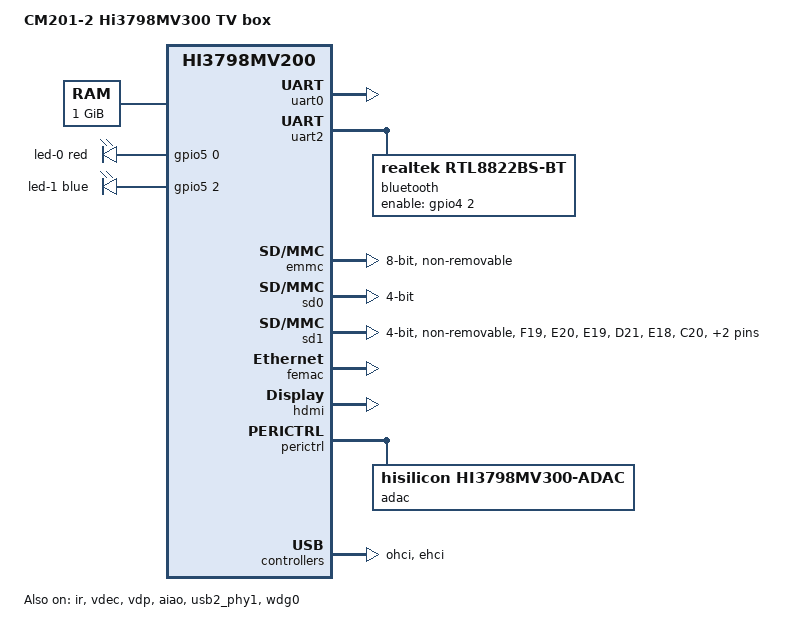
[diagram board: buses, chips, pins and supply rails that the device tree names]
// SPDX-License-Identifier: GPL-2.0
/*
 * CM201-2（Sunnovo / Hi3798MV300，1 GiB + 8 GiB eMMC）板级 DTS。
 *
 * 派生自 hataketsu 的 hi3798mv300-mainline tvbox DTS，按本机需要做了以下改动：
 *   - CM201-2 的 model 字符串，以及给 SDIO Wi-Fi 的 mmc2 别名；
 *   - BL31 预留在厂商 fastboot 放置它的 0x04400000，而不是 l-loader 的地址；
 *   - eMMC 沿用 U-Boot 的引脚设置（不挂 pinctrl state），SDIO1 使用 bootloader 留作 GPIO 的 sdio 复用（F20 留给蓝牙的 BT_REG_ON）；
 *   - eMMC 的 DDR52/HS200/HS400；SD0 卡槽用控制器自带的卡检测并带 disable-wp，SDIO Wi-Fi 那一路带 broken-cd；
 *   - 通过 MV300 USB2 PHY 的 MMIO 序列启用 USB host（patches/linux/0002 "inno-usb2: 支持 Hi3798MV300 的 MMIO 端口"）；
 *   - SoC dtsi 没有的 PMC tsensor、thermal zone 与 TRNG；
 *   - UART2 上的 RTL8822BS 蓝牙（H5，btrtl）；
 *   - 机身 AV 口的模拟音频：AIAO 发送口 1 → 片内 TianLai V700 ADAC（声卡 "CM201 AV"）；
 *   - CPU 供电 PMC6 由 histb-regulator 接管（vdd_cpu），operating point 带 opp-microvolt，并以 CPU 作为 thermal zone 的冷却设备；tsensor 的窗口让出 PMC6–PMC8。
 *
 * 基于 v7.4-rc1 + histb-mainline/patches pending-7.4 编写。
 *
 * 厂商设备树里没有板名；型号依据标签和导出的原厂 DTB 判定。
 */

/dts-v1/;

#include <dt-bindings/gpio/gpio.h>
#include <dt-bindings/leds/common.h>
#include <dt-bindings/thermal/thermal.h>

#include "hi3798mv200.dtsi"

/ {
	model = "CM201-2 Hi3798MV300 TV box";
	compatible = "hisilicon,hi3798mv300-tvbox", "hisilicon,hi3798mv200";

	aliases {
		serial0 = &uart0;
		serial1 = &uart2;
		mmc0 = &emmc;
		mmc1 = &sd0;
		mmc2 = &sd1;
		ethernet0 = &femac;
	};

	chosen {
		stdout-path = "serial0:115200n8";
		/* 默认先 DHCP（EA7500 在 192.168.75.0/24），失败才落到静态 192.168.1.249 —— 静态只用于 DHCP 不可达时的带外入口。 */
		/*
		 * 盘上没有 GPT。分区表来自 U-Boot env 的 blkdevparts（9 个分区，与 630 MiB 处的 ext4 对齐）；mainline 需要 CONFIG_CMDLINE_PARTITION=y 才会解析。不要改成 GPT：sector 0 是原厂 fastboot。
		 * root=/dev/mmcblk0p9 给 p6 里的「无 initramfs」内核直接挂载用；带诊断 initramfs 的 TFTP 镜像由 /init 自己 switch_root，会忽略这个 root=（两者共用同一份 DTB）。
		 * diag.rootfs=0 可让某次启动留在诊断态（改 DTB 或直接换 hi_kernel-mv300-diag-blkparts.bin）。
		 * fsck.repair=yes：根分区由 /init 以只读交给 systemd，systemd-fsck-root 遇到需要人工确认的错误也自动修复，不停在交互提示上（无人值守，docs/04-ROOTFS.md「根分区 fsck」）。
		 * ext4.max_folio_order=0：普通文件的页缓存回到逐页，经 mmap 的小更新不再整块（最大 2 MiB）回写（patches/linux 的 ext4 补丁，docs/12-DURABILITY.md）。
		 * cma=64M：默认 32 MB CMA 装不下 VDEC。7.3 的零拷贝口径是消息池 + H.264 PMV 池 + 4 个 1440p capture buffer 约 40 MB；7.4 的 v2 后端在每个 capture buffer 后面多一份同尺寸内部帧（1440p 每对约 11 MB），估算 1440p H.264 2 个 buffer 约 30 MB、4 个约 52 MB，HEVC 的 PMV 池仍一次分配 20 槽（1440p 约 9 MB），4 个 buffer 约 62 MB——都是算出来的，未在 7.4 上实测。
		 */
		bootargs = "console=ttyAMA0,115200 panic=5 panic_on_oops=1 systemd.unit=multi-user.target fsck.repair=yes ext4.max_folio_order=0 clk_ignore_unused cma=64M diag.ip=192.168.1.249 diag.gw=192.168.1.1 diag.shell=1 diag.rootfs=1 root=/dev/mmcblk0p9 rootfstype=ext4 rootwait blkdevparts=mmcblk0:1M(boot),1M(bootargs),4M(baseparam),4M(pqparam),4M(logo),40M(kernel),64M(busybox),512M(backup),-(ubuntu)";
	};

	/*
	 * 1 GiB。原厂 bootloader 的 `getinfo ddrfree` 报告空闲 DDR 为 0x1000000..0x40000000，HC2910 DTS 的 0x80000000 会映射出并不存在的半个 GiB。
	 */
	memory@0 {
		device_type = "memory";
		reg = <0x0 0x0 0x0 0x40000000>;
	};

	/*
	 * pstore：板子没有可用的 UART，所以卡死或 panic 的那次启动的控制台输出保存在 RAM 里、跨热复位保留（SysRq-B 与 SP805 看门狗复位都已实测，07 #41、#62），在下次启动时读回（systemd-pstore 把它归档到 /var/lib/systemd/pstore）。不放在 DDR 顶端：热复位后最后 1 MiB 存着 DDR training pattern 和 fastboot 数据（2026-11-12 实测），ramoops 在那里发现每个 header 都已损坏。放在 0x30000000 时，上一次启动的 console 与 pmsg 读回时报告 "ECC: No errors detected"。no-map 让该区域不进线性映射，因此以 uncached 方式写入，并可通过 /dev/mem 读出核对。
	 */
	reserved-memory {
		/*
		 * 两条启动链上 BL31 都作为 PSCI 固件常驻 EL3：厂商 fastboot 把 FIP 里的 BL31 拷到这里并热复位进入它（TFTP 镜像用厂商 BL31，p6 里的 route-D 链用上游 TF-A）。厂商 BL31 链接在 0x04400000，并把自己映射在 [0x04400000, 0x04410000)；上游 BL31 链接进同一个 0x14000 字节的槽。
		 */
		bl31@4400000 {
			reg = <0x0 0x04400000 0x0 0x00014000>;
			no-map;
		};

		ramoops@30000000 {
			compatible = "ramoops";
			reg = <0x0 0x30000000 0x0 0x100000>;
			no-map;
			console-size = <0x80000>;
			record-size = <0x20000>;
			pmsg-size = <0x20000>;
			ecc-size = <16>;
		};
	};

	/*
	 * 两颗前面板 LED 都在 gpio5 上——即 0xf8004000 处的 PL061，待机时仍然供电。两颗都是高电平有效，且都无法单靠软件发现：bootloader 把蓝色 LED 的引脚留作输入，只有逐条驱动每根线才找到了它。
	 *
	 * 线 1 有意不分配：它是 bootloader 置高的输出，但不点亮任何东西。
	 */
	leds {
		compatible = "gpio-leds";

		led-0 {
			gpios = <&gpio5 0 GPIO_ACTIVE_HIGH>;
			color = <LED_COLOR_ID_RED>;
			function = LED_FUNCTION_ACTIVITY;
			linux,default-trigger = "mmc0";
		};

		led-1 {
			gpios = <&gpio5 2 GPIO_ACTIVE_HIGH>;
			color = <LED_COLOR_ID_BLUE>;
			function = LED_FUNCTION_POWER;
			linux,default-trigger = "heartbeat";
		};
	};
};

&uart0 {
	status = "okay";
};

/*
 * RTL8822BS 的蓝牙部分：H5（三线 UART）接 UART2。UART2 是 K19/J20/J19/H21 四线，原厂与 histb 两份 fastboot 寄存器表都把这四脚设成功能 5；主线 pinctrl 表里 K19 的 uart 功能号是 4，与硬件现值不符，所以不挂 pinctrl，沿用 bootloader 的复用（同 &emmc）。
 * BT_REG_ON 是 GPIO4_2（焊盘 F20），高有效：原厂 hi_rfkill.ko 用 GPIO 34 驱动它（rfkill 解除阻塞时输出 1）。hci_h5 在 probe（注册 hci 设备时打开 H5 协议）时先拉低 100 ms 再拉高、卸载时拉低，hci0 的 up/down 不动它。
 * 固件按芯片版本由 btrtl 选（rtl_bt/rtl8822bs_fw.bin、rtl8822bs_config.bin，原厂 /etc/firmware 同名文件）；config 把链路切到 1.5 Mbaud 并开硬件流控。
 */
&uart2 {
	status = "okay";

	bluetooth {
		compatible = "realtek,rtl8822bs-bt", "realtek,rtl8822cs-bt";
		enable-gpios = <&gpio4 2 GPIO_ACTIVE_HIGH>;
	};
};

/*
 * eMMC 实测（2026-11-07）：
 * - DDR52、HS200、HS400 均能在 mainline 7.3 下读写；HS400 跑 150 MHz。
 * - HS400 早先全读失败（CRC 错误）的根因不是采样相位或 SAP DLL，而是 mainline pinctrl：dtsi 的 emmc_default 把 eMMC 引脚统一配成 8mA + slew-rate 1，而厂商驱动在 HS400 下用 8mA + slew-rate 0（himciv200_set_driver）。U-Boot 已按 HS400 配好 IO 引脚，删掉 pinctrl 保留其设置后，HS400 读、写、回读校验全部通过。
 * - 保留 HS200 作为 HS400 不可用时的回退，DDR52 继续保留。
 */
&emmc {
	/* 不要挂 pinctrl-0：mainline emmc_default 的 slew-rate 1 会破坏 HS400 数据窗口。引脚复用和驱动强度沿用 U-Boot 的配置。 */
	/delete-property/ pinctrl-0;
	/delete-property/ pinctrl-names;

	fifo-depth = <256>;
	clock-frequency = <50000000>;
	max-frequency = <150000000>;
	bus-width = <8>;
	cap-mmc-highspeed;
	cap-mmc-ddr52;
	mmc-hs200-1_8v;
	mmc-hs400-1_8v;
	mmc-ddr-1_8v;
	non-removable;
	status = "okay";
};

/*
 * SD 卡槽（SD0）：卡检测走控制器自带的 CDETECT，由 dtsi 的 sd0_default 把 C5 复用成 sdio 功能（上拉；无卡时 C5 读高，07 #73），不再用 broken-cd 让 mmc 核心反复重试整套初始化。microSD 没有写保护开关，C2 悬空上拉会被读成写保护，所以 disable-wp。
 * 只开 SD 高速（50 MHz）：板上没有 1.8 V IO 电压切换（dw_mmc-hi3798mv200 不做电压切换、也没有 vqmmc 稳压器），声明 UHS 会让卡在 CMD11 后切到 1.8 V 而主机仍按 3.3 V 驱动。
 */
&sd0 {
	fifo-depth = <256>;
	clock-frequency = <150000000>;
	bus-width = <4>;
	cap-sd-highspeed;
	disable-wp;
	status = "okay";
};

/*
 * RTL8822BS 使用的 SDIO1 引脚。厂商 bootloader 把这些引脚留作 GPIO 复用，所以卡从不应答 CMD52。运行期经 pinctrl debugfs 验证（把引脚复用为 "sdio"，重新绑定 mmc2）后卡能枚举出来；这里固定该复用。pinconf 有意不动：bootloader 的偏置与驱动强度设置已经可用。
 * F20 不在组里：它是蓝牙的 BT_REG_ON（GPIO4_2，&uart2 的 enable-gpios），pinctrl 是 strict 的，留在 sdio 组里 GPIO 就请求不到。原厂 fastboot 寄存器表里 SDIO1 只用 E20/E19/D21/E18/C20/D19 六脚，F20/F19 都是 GPIO（BT_REG_ON / WL_REG_ON）；F19 与 B21 仍按现状留在 sdio 组，WiFi 一直在这个配置下工作。
 */
&ioconfig {
	sdio1_default: sdio1-default-state {
		sdio1-pins {
			pins = "F19", "E20", "E19", "D21", "E18", "C20",
			       "D19", "B21";
			function = "sdio";
		};
	};
};

/* SDIO Wi-Fi：RTL8822BS，由 rtw88 驱动。 */
&sd1 {
	pinctrl-0 = <&sdio1_default>;
	pinctrl-names = "default";

	bus-width = <4>;
	max-frequency = <50000000>;
	cap-sd-highspeed;
	cap-sdio-irq;
	sd-uhs-sdr12;
	sd-uhs-sdr25;
	sd-uhs-sdr50;
	non-removable;
	broken-cd;
	status = "okay";
};

/*
 * CPU operating point：取 CPU PLL 在 fastboot 留下的分频下能精确得到的频率（24 MHz / (postdiv1 2 * postdiv2 1 * refdiv 2) = 反馈分频每步 6 MHz；时钟驱动会重新调谐 PLL，见 crg-hi3798mv200.c）。SoC 表里的 24/200/400/800 MHz 在这个 PLL 上达不到。
 * 电压：1.2 GHz 保持 1.10 V（fastboot 为它设的值，厂商 OPP 表同值）；600 MHz 930 mV、900 MHz 1002.5 mV，都是运行期满载实测过的 PMC6 值（userspace 钉频 + /dev/mem 直写 PMC6，3 核 openssl + sha256 已知结果校验，600 MHz 30 min、900 MHz 20 min 无错，docs/07-EVIDENCE.md #70），比厂商 OPP 表的 SVB 修正前默认值（600 MHz 850 mV、800 MHz 930 mV、1.2 GHz 1100 mV，07 #31）留出余量。驱动按 PWM 周期 220 换算（V = 1250 mV − 2.5 mV × duty，寄存器里的 duty 与周期字段都是值加 1），930000 写成 duty 字段 0x81，1002500 写成 0x64，与实测值逐位一致。
 * opp-suspend 让有序重启/关机前回到 1.2 GHz/1.10 V，即 fastboot 交棒时的状态。
 */
&cpu_opp_table {
	/delete-node/ opp-24000000;
	/delete-node/ opp-200000000;
	/delete-node/ opp-400000000;
	/delete-node/ opp-800000000;
	/delete-node/ opp-1350000000;
	/delete-node/ opp-1600000000;

	opp-600000000 {
		opp-microvolt = <930000 930000 1250000>;
	};

	opp-900000000 {
		opp-hz = /bits/ 64 <900000000>;
		opp-microvolt = <1002500 1002500 1250000>;
	};

	opp-1200000000 {
		opp-microvolt = <1100000 1100000 1250000>;
		opp-suspend;
	};
};

/* OPP 表是共享的，因此 cpu0 的 policy 就是唯一的冷却设备；四个核同在 vdd_cpu 一路上。 */
&{/cpus/cpu@0} { #cooling-cells = <2>; cpu-supply = <&vdd_cpu>; };
&{/cpus/cpu@1} { cpu-supply = <&vdd_cpu>; };
&{/cpus/cpu@2} { cpu-supply = <&vdd_cpu>; };
&{/cpus/cpu@3} { cpu-supply = <&vdd_cpu>; };

&femac {
	status = "okay";
	/*
	 * U-Boot 的 ethaddr 不会传给 mainline（bootm 只传 ATAGS，mainline 不读），不指定时 of_get_ethdev_address() 返回失败，驱动退化成每次启动随机 MAC（实测 26:bd:3a:64:6a:c5），DHCP 地址随之漂移，远程排障无法定位。
	 * 固定一个本地管理地址（首字节 0x02 = locally administered）。
	 * 真实 vendor MAC 可用 U-Boot 的 printenv ethaddr 读出后替换这里。
	 */
	local-mac-address = [02 ca 20 12 00 01];
};

/*
 * IR 接收器。随盒遥控器使用 NEC 协议、地址 0x22；方向键与 OK 和 rc-hisi-tv-demo 表一致（0xca=UP，0xd2=DOWN），但返回、频道和音量用的是 0x2295、0x2285/0x2286 和 0x2280/0x2281（2026-11-08 抓取），所以 rc-cm201 并不是把那张表单纯平移到 0x22XX。
 */
&ir {
	status = "okay";
	linux,rc-map-name = "rc-cm201";
};

/*
 * VDEC：这颗芯片运行 VDH V5R2C1（固件标签 HiVDHFMWV500R001），由 histb-vdec 的 v2 后端驱动，而不是 dtsi 的 "hisilicon,hi3798mv200-vdec" 所选的 MV200H V5R6 block。VDM 窗口必须覆盖到 0x1014 之后，以容纳语法错误记录；SCD 承载三个解码器全局寄存器。与 dtsi 注释描述的 MV200H block 不同，这颗芯片的 CRG30（0x078）确实包含 VDH 与 DSP 门控（bit 0/1）以及 global/SCD/MFD 软复位（bit 4/5/6）：驱动通过 "hisilicon,crg" syscon 打开门控，两路复位请求是 global 与 VDM 复位。模块 histb_vdec 随开机自动加载；回归用 build/scratch-vdec74 的测试包（docs/10-MEDIA.md，07 #74、#76）。
 */
&vdec {
	compatible = "hisilicon,hi3798mv300-vdec";
	reg = <0x8c30000 0x1100>, <0x8c3c000 0x1000>;
	reg-names = "vdm", "scd";
	resets = <&crg 0x78 4>, <&crg 0x78 6>;
	reset-names = "global", "vdm";
	hisilicon,crg = <&crg>;
	status = "okay";
};

/*
 * 显示：VDP v4 引擎经 of_graph 端口 0 接片上 HDMI 发送器，寄存器窗口、时钟与复位都取 dtsi 原样（docs/10-MEDIA.md §4，上板进度见 docs/TASKS.md 第 6 项）。兼容串换成 "hisilicon,hi3798mv300-vdp"：这颗芯片的 VDP 是厂商 hal/98mv200 那一版寄存器布局（VDPVERSION 0x09349963/0x20150807），CRG54 bit30 是 VOU 复位、bit31 是配置时钟，像素钟 = 显示 PLL ÷ 4 ÷ (CRG211[28:24] + 1)，都与 dtsi 的 "hisilicon,hi3798mv200-vdp" 所指的 MV310 布局不同（07 #125，docs/14-VDP-HDMI.md）。
 */
&vdp {
	compatible = "hisilicon,hi3798mv300-vdp";
	status = "okay";
};

/*
 * HDMI 发送器兼容串换成 "hisilicon,hi3798mv300-hdmi"：PHY 按本机 fastboot 对 MV300 的分频、驱动电流/终端与展频表编程，PHY 复位走 PHY 窗口的 DPHY_RST 而不是 CRG68 bit4（07 #126 的 A/B 寄存器对比，captures/20261122-hdmi/）。
 */
&hdmi {
	compatible = "hisilicon,hi3798mv300-hdmi";
	status = "okay";
};

&soc {
	/*
	 * CPU 供电：板上 buck 的反馈由 PMC6（0xf8a23018）的 PWM 微调，duty 越大电压越低。厂商 4.4 内核（device_volt_scale/mpu_get_volt）按 1250 mV − 2.5 mV × duty、period 220 换算，满量程 0.70–1.25 V，厂商 DT 给 PMC8（vdd-gpu）的也是这个量程。histb-regulator 把 regulator-min/max-microvolt 当作换算端点，所以这两个值是换算常数，不能用来收窄允许范围。厂商升压后等 10 ms 才升频（hi_device_scale），settling-time-up 复现这一点。非 dms 板（SC_GEN5[31:29] != 2，本机读得 0）上厂商只用 PMC6 给 CPU 调压；PMC7/PMC8 不在这里描述。
	 */
	vdd_cpu: regulator@8a23018 {
		compatible = "hisilicon,hi3798cv200-regulator";
		reg = <0x8a23018 0x4>;
		regulator-name = "vdd-cpu";
		regulator-min-microvolt = <700000>;
		regulator-max-microvolt = <1250000>;
		regulator-always-on;
		regulator-boot-on;
		regulator-settling-time-up-us = <10000>;
	};

	/*
	 * PMC 温度传感器。厂商设备树描述它时没有 reg（其驱动把 0xf8a23000 写死）；窗口从 +0x28 的控制字开始，到 +0x30..+0x3c 的四个采样字为止，不覆盖 +0x18..+0x20 的 PMC6–PMC8 调压寄存器。
	 */
	tsensor: tsensor@8a23028 {
		compatible = "hisilicon,hi3798mv200-tsensor";
		reg = <0x8a23028 0x18>;
		#thermal-sensor-cells = <0>;
	};

	/*
	 * TRNG：厂商的 "v200" block（HiSTB SDK 的 drv_osal_hi3798mv300.h 在 0xf8005200 选用 CHIP_TRNG_VER_V200，没有时钟、复位或 CRG 条目）。在本板上该窗口在 0xf8005200 应答（CTRL 0xa、STAT 0x2000，每次读都给出新的数据字），而 0xf8005000 处的三个字读出为零。
	 */
	rng: rng@8005200 {
		compatible = "hisilicon,hi3798mv300-rng", "hisilicon,hi3798cv200-rng";
		reg = <0x8005200 0x100>;
	};
};

/ {
	/*
	 * trip 温度与轮询周期同原厂设备树（95 与 105 degC passive，120 degC critical，滞回 5 degC，1 s / 100 ms）。两个 passive trip 都通过 operating point 给 CPU 降频；critical trip 触发有序关机，BL31 把其中的 PSCI SYSTEM_OFF 改成复位（patches/tf-a 的 SYSTEM_OFF 补丁，HISI_SYSTEM_OFF_RESETS），所以板子是重启而不是停机。
	 */
	thermal-zones {
		soc-thermal {
			polling-delay = <1000>;
			polling-delay-passive = <100>;
			thermal-sensors = <&tsensor>;

			trips {
				soc_alert0: soc-alert0 {
					temperature = <95000>;
					hysteresis = <5000>;
					type = "passive";
				};

				soc_alert1: soc-alert1 {
					temperature = <105000>;
					hysteresis = <5000>;
					type = "passive";
				};

				soc-crit {
					temperature = <120000>;
					hysteresis = <5000>;
					type = "critical";
				};
			};

			cooling-maps {
				map0 {
					trip = <&soc_alert0>;
					cooling-device = <&{/cpus/cpu@0} THERMAL_NO_LIMIT THERMAL_NO_LIMIT>;
				};

				map1 {
					trip = <&soc_alert1>;
					cooling-device = <&{/cpus/cpu@0} THERMAL_NO_LIMIT THERMAL_NO_LIMIT>;
				};
			};
		};
	};
};

/*
 * 模拟音频输出（机身 AV 口的左右声道）：AIAO 发送口 1 → 片内 TianLai V700 ADAC → 片内 lineout 驱动（charge pump）。
 * 依据：厂商 SDK aiao_v1_1/ao/drv_ao_op.c:30-88（S28 平台 DAC0 = AIAO_PORT_TX1）与原厂 3.18 内核 SndOpGetPort；ADAC 寄存器是 PERICTRL 0x110/0x114（ADAC0/1）与 0x160/0x164（ADAC2/3），时钟 CRG69[0]、复位 CRG69[4]（hi3798mv200/hi_reg_peri.h、hi_reg_crg.h）；上电序列取原厂 CM201-2 内核走的 HI_ADAC_INTERNAL_AMP_SUPPORT 分支。原厂内核没有编入静音 GPIO（HI_SND_MUTECTL_SUPPORT），本板不挂 GPIO。
 * 声卡只连 DAC：HDMI（发送口 2）待 HDMI 打通后在同一张卡里加 playback 链路。
 */
&perictrl {
	adac: audio-codec@110 {
		compatible = "hisilicon,hi3798mv300-adac";
		reg = <0x110 0x8>, <0x160 0x8>;
		clocks = <&crg HI3798MV200_ADAC_CLK>;
		resets = <&crg 0x114 4>;
		#sound-dai-cells = <0>;
	};
};

&aiao {
	status = "okay";
};

/ {
	sound {
		compatible = "hisilicon,hi3798mv200-aiao-card";
		model = "CM201 AV";

		/* <&aiao 2> 是 histb-aiao-i2s 的第三个 DAI（aiao-i2s-dac），在 S28 变体里落在发送口 1 */
		dac-playback {
			cpu {
				sound-dai = <&aiao 2>;
			};

			codec {
				sound-dai = <&adac>;
			};
		};
	};
};

/*
 * USB2 host。MV300 的 PHY 寄存器直接映射到内存地址空间（每个 8 位寄存器占一个 32 位字，端口 1 在 +0x400），不在 CV200 的 test port 后面。下面的绑定给驱动一个真实的逐端口 reg 用于 iomap；第二路父复位（0xbc 15）是厂商 dtsi 挂在从未 probe 过的 test bus 上的那一路。PHY 驱动会编程 MV300 额外的五个寄存器；不写它们时 EHCI 报 "port 2 reset error -110"。
 */
&usb2_phy1 {
	compatible = "hisilicon,hi3798mv300-usb2-phy";
	reg = <0x9865000 0x1000>;
	resets = <&crg 0xbc 4>, <&crg 0xbc 15>;
	ranges = <0x0 0x9865000 0x1000>;
	#address-cells = <1>;
	#size-cells = <1>;
	status = "okay";
};

&usb2_phy1_port0 {
	reg = <0x0 0x400>;
};

&usb2_phy1_port1 {
	reg = <0x400 0x400>;
};

&ohci {
	status = "okay";
};

&ehci {
	status = "okay";
};

&gpio0 { status = "okay"; };
&gpio1 { status = "okay"; };
&gpio2 { status = "okay"; };
&gpio3 { status = "okay"; };
&gpio4 { status = "okay"; };
&gpio5 { status = "okay"; };
&gpio6 { status = "okay"; };
&gpio7 { status = "okay"; };
&gpio8 { status = "okay"; };
&gpio9 { status = "okay"; };

&wdg0 {
	status = "okay";
};

/* CM201-2 的 FE PHY 挂在 MDIO 地址 2（U-Boot 打印 0x02）；mainline FEMAC 用地址 1 时 PHY ID 读 0、carrier 始终为 0，只有地址 2 能建立链路。 */
&fephy {
	reg = <2>;
};
